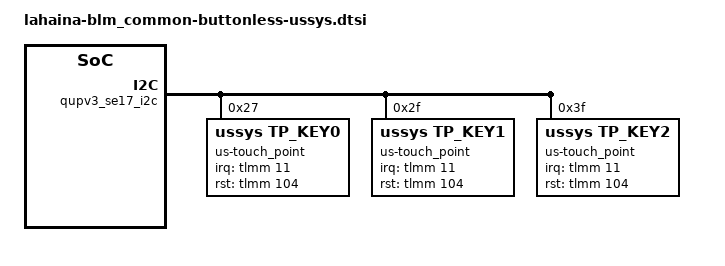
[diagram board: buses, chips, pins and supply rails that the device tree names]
/* Copyright (c) 2016-2017, The Linux Foundation. All rights reserved.
 *
 * This program is free software; you can redistribute it and/or modify
 * it under the terms of the GNU General Public License version 2 and
 * only version 2 as published by the Free Software Foundation.
 *
 * This program is distributed in the hope that it will be useful,
 * but WITHOUT ANY WARRANTY; without even the implied warranty of
 * MERCHANTABILITY or FITNESS FOR A PARTICULAR PURPOSE.  See the
 * GNU General Public License for more details.
 */

#include <dt-bindings/gpio/gpio.h>

&tlmm {
	us_touch_point_int {
		us_touch_point_int_default: us_touch_point_int_default {
			mux {
				/* GPIO 11 US touch_point Interrupt */
				pins = "gpio11";
				function = "gpio";
			};

			config {
				pins = "gpio11";
				drive-strength = <2>; /* 2 MA */
				bias-pull-up;
			};
		};
	};
	us_touch_point_rst {
		us_touch_point_rst_default: us_touch_point_rst_default {
			mux {
				pins = "gpio104";
				function = "gpio";
			};

			config {
				pins = "gpio104";
				drive-strength = <2>;
				bias-disable;
				output-low;
			};
		};
	};
};

&qupv3_se17_i2c {
	status = "ok";
	us-touch_point@27 {  /* POWER/SLIDE KEY */
		compatible = "ussys,tp_key0";
		//compatible = "us,touch_point";
		reg = <0x27>;
		pinctrl-names = "default";
		pinctrl-0 = <&us_touch_point_int_default &us_touch_point_rst_default>;
		interrupt-parent = <&tlmm>;
		interrupts = <11 0x2002>;
	
		touch_point,irq-gpios = <&tlmm 11 0>;
		touch_point,rst-gpios = <&tlmm 104 0>;
		touch_point,share-irq-pin;
		touch_point,i2c-block-off;
		linux,input-code = <116>;  /* POWER */
		//linux,input-code = <102>;  /* MENU */
		wakeup-source;
	};

	
	us-touch_point@2F {        /* VOLUME UP */
		compatible = "ussys,tp_key1";
		//compatible = "us,touch_point";
		reg = <0x2F>;
		//pinctrl-names = "default";
		//pinctrl-0 = <&us_touch_point_int_default &us_touch_point_rst_default>;
		interrupt-parent = <&tlmm>;
		interrupts = <11 0x2002>;
		touch_point,irq-gpios = <&tlmm 11 0>;
		touch_point,rst-gpios = <&tlmm 104 0>;
		touch_point,share-irq-pin;
		touch_point,i2c-block-off;
		linux,input-code = <115>; /* VOLUME UP */
		wakeup-source;
	};


	

	us-touch_point@3F {     /* VOLUME DOWN */
		compatible = "ussys,tp_key2";
		//compatible = "us,touch_point";
		reg = <0x3F>;
		//pinctrl-names = "default";
		//pinctrl-0 = <&us_touch_point_int_default &us_touch_point_rst_default>;
		interrupt-parent = <&tlmm>;
		interrupts = <11 0x2002>;
		touch_point,irq-gpios = <&tlmm 11 0>;
		touch_point,rst-gpios = <&tlmm 104 0>;
		touch_point,share-irq-pin;
		touch_point,i2c-block-off;
		linux,input-code = <114>;  /* VOLUME Down */
		
		wakeup-source;
	};

};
